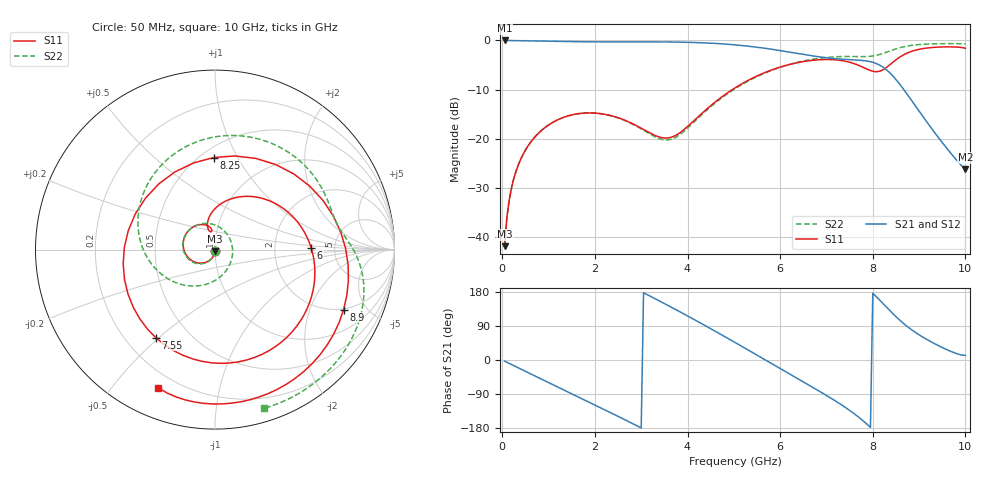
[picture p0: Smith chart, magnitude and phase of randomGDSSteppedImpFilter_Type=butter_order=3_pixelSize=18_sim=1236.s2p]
! freq	dB(S11)	phase(S11)	dB(S12)	phase(S12)
!  dB(S21)	phase(S21)	dB(S22)	phase(S22)
!S-par simulation data
#  GHz  S  DB  R 50
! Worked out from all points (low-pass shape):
!   200 points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, 50 MHz to 10 GHz, reference 50 ohm
!   highest |S21| = -0.01 dB at 50 MHz (marker M1); lowest = -26.2 dB at 10 GHz (marker M2)
!   |S21| within 3 dB of the highest: start of sweep to 6.61 GHz
!   lowest |S11| = -41.8 dB at 50 MHz (marker M3), VSWR 1.02, Z = 50 - j0.813 ohm
!   |S11| at or under -10 dB: start of sweep to 4.966 GHz
!   |S22| runs from -41.8 to -0.7 dB; largest |S21 - S12| = 0
!   S11 on the Smith chart (normalised r, x): 50 MHz: 1.00, -0.02; 6 GHz: 3.31, +0.09; 7.55 GHz: 0.32, -0.49; 8.25 GHz: 0.58, +0.80; 8.9 GHz: 1.95, -3.48; 10 GHz: 0.13, -0.66
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0.05  -41.79 -90.9  -0.01 -3.1  -0.01 -3.1  -41.79 -90.6
0.2  -29.93 -102.1  -0.02 -12.0  -0.02 -12.0  -29.92 -101.3
0.5  -22.27 -121.3  -0.07 -29.9  -0.07 -29.9  -22.26 -119.3
1.15  -16.34 -161.0  -0.18 -68.4  -0.18 -68.4  -16.35 -157.0
1.75  -14.77 163.2  -0.27 -103.7  -0.27 -103.7  -14.77 167.6
2.65  -16.23 115.4  -0.30 -157.7  -0.30 -157.7  -16.28 107.8
3.4  -19.65 100.3  -0.30 155.4  -0.30 155.4  -19.99 29.4
4.25  -15.33 102.7  -0.45 99.6  -0.45 99.6  -15.58 -86.5
4.65  -12.12 85.0  -0.64 72.4  -0.64 72.4  -12.31 -123.2
5.05  -9.50 62.1  -0.92 44.6  -0.92 44.6  -9.66 -155.5
5.5  -7.22 33.7  -1.38 12.9  -1.38 12.9  -7.35 169.8
6  -5.42 1.0  -2.07 -22.4  -2.07 -22.4  -5.46 132.0
6.7  -4.04 -47.0  -3.14 -71.9  -3.14 -71.9  -3.83 81.5
7.2  -3.95 -86.8  -3.72 -108.6  -3.72 -108.6  -3.32 49.2
7.55  -4.57 -123.9  -3.93 -137.3  -3.93 -137.3  -3.27 29.8
7.95  -6.11 167.7  -4.32 -177.8  -4.32 -177.8  -3.22 13.2
8.25  -5.80 90.7  -5.63 145.3  -5.63 145.3  -2.55 3.4
8.35  -5.09 65.9  -6.42 132.6  -6.42 132.6  -2.21 -0.6
8.6  -3.29 16.0  -9.11 103.3  -9.11 103.3  -1.44 -12.4
8.9  -2.04 -25.0  -13.03 74.6  -13.03 74.6  -0.93 -27.4
9.4  -1.36 -69.6  -19.52 39.0  -19.52 39.0  -0.68 -50.0
10  -1.60 -112.5  -26.16 12.2  -26.16 12.2  -0.67 -72.7
